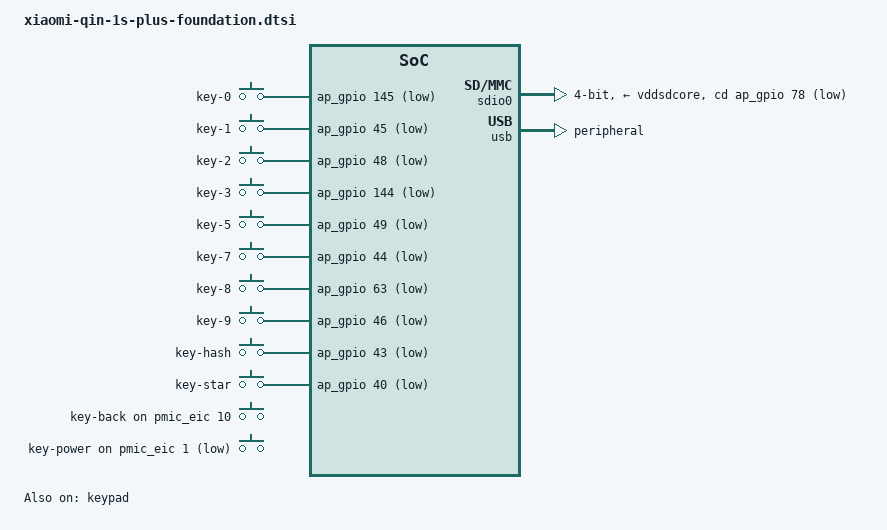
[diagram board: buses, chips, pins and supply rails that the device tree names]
// SPDX-License-Identifier: GPL-2.0-only
#include <dt-bindings/gpio/gpio.h>
#include <dt-bindings/input/input.h>
#include <dt-bindings/input/fplinux-keypad.h>

&keypad {
	fplinux,debounce-count = <15>;
	keypad,num-columns = <3>;
	keypad,num-rows = <3>;
	linux,keymap = <
		MATRIX_KEY(0, 0, FPLINUX_KEY_CALL)
		MATRIX_KEY(0, 1, FPLINUX_KEY_RIGHT)
		MATRIX_KEY(0, 2, FPLINUX_KEY_LEFT)
		MATRIX_KEY(1, 0, FPLINUX_KEY_UP)
		MATRIX_KEY(1, 1, FPLINUX_KEY_OK)
		MATRIX_KEY(1, 2, FPLINUX_KEY_DOWN)
		MATRIX_KEY(2, 0, FPLINUX_KEY_SOFT_LEFT)
		MATRIX_KEY(2, 1, FPLINUX_KEY_4)
		MATRIX_KEY(2, 2, FPLINUX_KEY_6)
	>;

	status = "okay";
};

/ {
	gpio-keys {
		compatible = "xiaomi,qin1s-plus-gpio-keys";
		label = "qin1splus-gpio-keys";

		key-0 {
			debounce-interval = <15>;
			gpios = <&ap_gpio 145 GPIO_ACTIVE_LOW>;
			linux,code = <FPLINUX_KEY_0>;
		};

		key-1 {
			debounce-interval = <15>;
			gpios = <&ap_gpio 45 GPIO_ACTIVE_LOW>;
			linux,code = <FPLINUX_KEY_1>;
		};

		key-2 {
			debounce-interval = <15>;
			gpios = <&ap_gpio 48 GPIO_ACTIVE_LOW>;
			linux,code = <FPLINUX_KEY_2>;
		};

		key-3 {
			debounce-interval = <15>;
			gpios = <&ap_gpio 144 GPIO_ACTIVE_LOW>;
			linux,code = <FPLINUX_KEY_3>;
		};

		key-5 {
			debounce-interval = <15>;
			gpios = <&ap_gpio 49 GPIO_ACTIVE_LOW>;
			linux,code = <FPLINUX_KEY_5>;
		};

		key-7 {
			debounce-interval = <15>;
			gpios = <&ap_gpio 44 GPIO_ACTIVE_LOW>;
			linux,code = <FPLINUX_KEY_7>;
		};

		key-8 {
			debounce-interval = <15>;
			gpios = <&ap_gpio 63 GPIO_ACTIVE_LOW>;
			linux,code = <FPLINUX_KEY_8>;
		};

		key-9 {
			debounce-interval = <15>;
			gpios = <&ap_gpio 46 GPIO_ACTIVE_LOW>;
			linux,code = <FPLINUX_KEY_9>;
		};

		key-hash {
			debounce-interval = <15>;
			gpios = <&ap_gpio 43 GPIO_ACTIVE_LOW>;
			linux,code = <FPLINUX_KEY_POUND>;
		};

		key-star {
			debounce-interval = <15>;
			gpios = <&ap_gpio 40 GPIO_ACTIVE_LOW>;
			linux,code = <FPLINUX_KEY_STAR>;
		};

		key-back {
			debounce-interval = <5>;
			gpios = <&pmic_eic 10 GPIO_ACTIVE_HIGH>;
			linux,code = <FPLINUX_KEY_SOFT_RIGHT>;
		};

		key-power {
			debounce-interval = <5>;
			gpios = <&pmic_eic 1 GPIO_ACTIVE_LOW>;
			linux,code = <FPLINUX_KEY_POWER>;
		};
	};
};

&pmic_regulators {
	regulators {
		vddsdcore: ldo@11 {
			reg = <11>;
			regulator-max-microvolt = <3000000>;
			regulator-min-microvolt = <3000000>;
			regulator-name = "vddsdcore";
		};

		vddsdio: ldo@12 {
			reg = <12>;
			regulator-max-microvolt = <3000000>;
			regulator-min-microvolt = <3000000>;
			regulator-name = "vddsdio";
		};
	};
};

&sdio0 {
	bus-width = <4>;
	cd-gpios = <&ap_gpio 78 GPIO_ACTIVE_LOW>;
	disable-wp;
	max-frequency = <13000000>;
	no-1-8-v;
	no-mmc;
	no-sdio;
	vmmc-supply = <&vddsdcore>;
	voltage-ranges = <3000 3000>;
	vqmmc-supply = <&vddsdio>;

	status = "okay";
};

&usb {
	compatible = "fplinux,qin1splus-musb-inherited";
	dr_mode = "peripheral";

	status = "okay";
};
